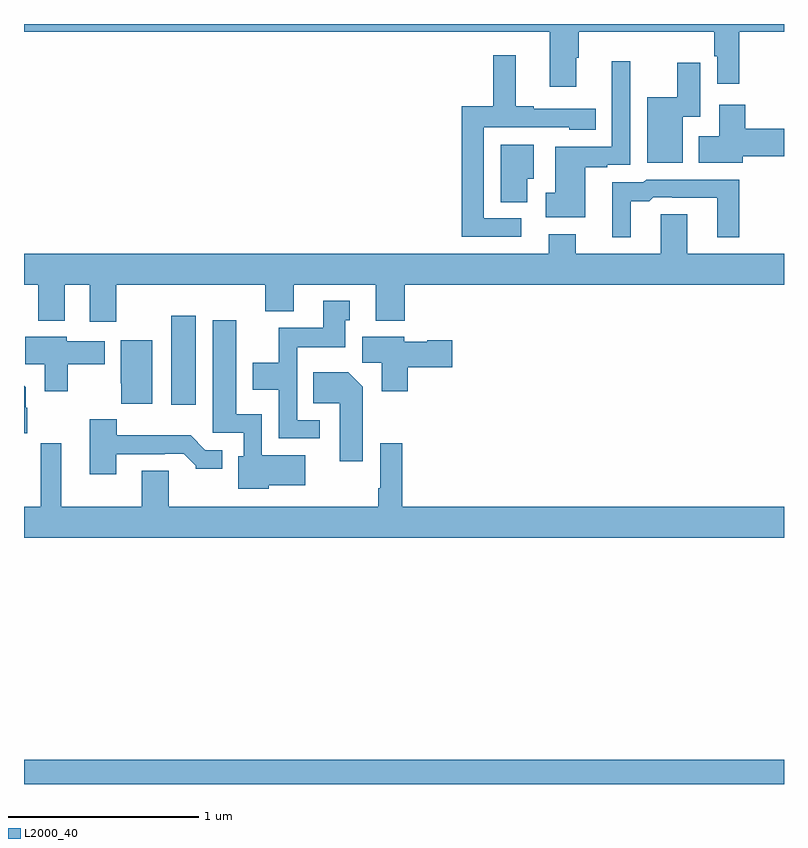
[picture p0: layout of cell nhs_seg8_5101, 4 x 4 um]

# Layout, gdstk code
import gdstk
lib = gdstk.Library(unit=1e-6, precision=1e-09)
def R(c, l, rs):  # rectangles x0, y0, x1, y1
    for r in rs: c.add(gdstk.rectangle(r[:2], r[2:], *l))
def P(c, l, *ps):  # polygons
    for p in ps: c.add(gdstk.Polygon(p, *l))
L2000_40 = (2000, 40)

nhs_seg8_5101 = lib.new_cell('nhs_seg8_5101')
R(nhs_seg8_5101, L2000_40, [(419,1085.9,423,1086.028), (419.774,1087.896,419.905,1088.365)])
P(nhs_seg8_5101, L2000_40, [(421.906,1089.723),(421.919,1089.723),(421.919,1089.86),(422.633,1089.86),(422.633,1089.731),(422.649,1089.731),(422.649,1089.585),(422.765,1089.585),(422.765,1089.86),(423,1089.86),(423,1089.9),(419,1089.9),(419,1089.86),(421.766,1089.86),(421.766,1089.57),(421.906,1089.57)],
  [(421.618,1088.877),(421.419,1088.877),(421.419,1089.357),(421.869,1089.357),(421.869,1089.344),(422.009,1089.344),(422.009,1089.453),(421.684,1089.453),(421.684,1089.466),(421.588,1089.466),(421.588,1089.736),(421.471,1089.736),(421.471,1089.466),(421.303,1089.466),(421.303,1088.781),(421.618,1088.781)],
  [(421.954,1089.147),(422.069,1089.147),(422.069,1089.159),(422.19,1089.159),(422.19,1089.703),(422.094,1089.703),(422.094,1089.255),(421.796,1089.255),(421.796,1089.012),(421.746,1089.012),(421.746,1088.882),(421.954,1088.882)],
  [(422.467,1089.413),(422.559,1089.413),(422.559,1089.697),(422.438,1089.697),(422.438,1089.514),(422.279,1089.514),(422.279,1089.17),(422.467,1089.17)],
  [(422.782,1089.203),(423,1089.203),(423,1089.35),(422.795,1089.35),(422.795,1089.475),(422.66,1089.475),(422.66,1089.31),(422.552,1089.31),(422.552,1089.17),(422.782,1089.17)],
  [(421.648,1089.086),(421.684,1089.086),(421.684,1089.265),(421.508,1089.265),(421.508,1088.962),(421.648,1088.962)],
  [(422.194,1088.966),(422.291,1088.966),(422.313,1088.988),(422.413,1088.988),(422.413,1088.985),(422.648,1088.985),(422.648,1088.777),(422.765,1088.777),(422.765,1089.081),(422.274,1089.081),(422.259,1089.066),(422.096,1089.066),(422.096,1088.777),(422.194,1088.777)],
  [(419.485,1088.528),(420.269,1088.528),(420.269,1088.387),(420.421,1088.387),(420.421,1088.528),(420.851,1088.528),(420.851,1088.339),(421.004,1088.339),(421.004,1088.528),(423,1088.528),(423,1088.692),(422.491,1088.692),(422.491,1088.9),(422.351,1088.9),(422.351,1088.692),(421.903,1088.692),(421.903,1088.794),(421.763,1088.794),(421.763,1088.692),(419,1088.692),(419,1088.528),(419.075,1088.528),(419.075,1088.339),(419.215,1088.339),(419.215,1088.528),(419.345,1088.528),(419.345,1088.334),(419.485,1088.334)],
  [(420.556,1087.815),(420.438,1087.815),(420.438,1088.198),(420.691,1088.198),(420.691,1088.34),(420.715,1088.34),(420.715,1088.443),(420.575,1088.443),(420.575,1088.302),(420.34,1088.302),(420.34,1088.116),(420.203,1088.116),(420.203,1087.976),(420.342,1087.976),(420.342,1087.719),(420.556,1087.719)],
  [(420.288,1087.472),(420.481,1087.472),(420.481,1087.63),(420.252,1087.63),(420.252,1087.846),(420.118,1087.846),(420.118,1088.341),(419.993,1088.341),(419.993,1087.749),(420.156,1087.749),(420.156,1087.626),(420.128,1087.626),(420.128,1087.454),(420.288,1087.454)],
  [(419.23,1088.108),(419.425,1088.108),(419.425,1088.23),(419.226,1088.23),(419.226,1088.254),(419.006,1088.254),(419.006,1088.11),(419.108,1088.11),(419.108,1087.968),(419.23,1087.968)],
  [(421.019,1088.093),(421.255,1088.093),(421.255,1088.235),(421.122,1088.235),(421.122,1088.227),(421.002,1088.227),(421.002,1088.254),(420.779,1088.254),(420.779,1088.116),(420.884,1088.116),(420.884,1087.968),(421.019,1087.968)],
  [(419.674,1088.236),(419.51,1088.236),(419.51,1088.008),(419.512,1088.008),(419.512,1087.901),(419.674,1087.901)],
  [(420.784,1087.99),(420.706,1088.068),(420.523,1088.068),(420.523,1087.904),(420.662,1087.904),(420.662,1087.599),(420.784,1087.599)],
  [(419.016,1087.88),(419.008,1087.88),(419.008,1087.987),(419,1087.995),(419,1087.746),(419.016,1087.746)],
  [(419.485,1087.635),(419.741,1087.635),(419.741,1087.638),(419.84,1087.638),(419.904,1087.574),(419.904,1087.559),(420.043,1087.559),(420.043,1087.656),(419.955,1087.656),(419.877,1087.735),(419.488,1087.735),(419.488,1087.819),(419.345,1087.819),(419.345,1087.53),(419.485,1087.53)],
  [(423,1087.36),(420.992,1087.36),(420.992,1087.693),(420.876,1087.693),(420.876,1087.456),(420.864,1087.456),(420.864,1087.36),(419.761,1087.36),(419.761,1087.55),(419.621,1087.55),(419.621,1087.36),(419.197,1087.36),(419.197,1087.693),(419.088,1087.693),(419.088,1087.36),(419,1087.36),(419,1087.196),(423,1087.196)])

lib.write_gds('nhs_seg8_5101.gds')
